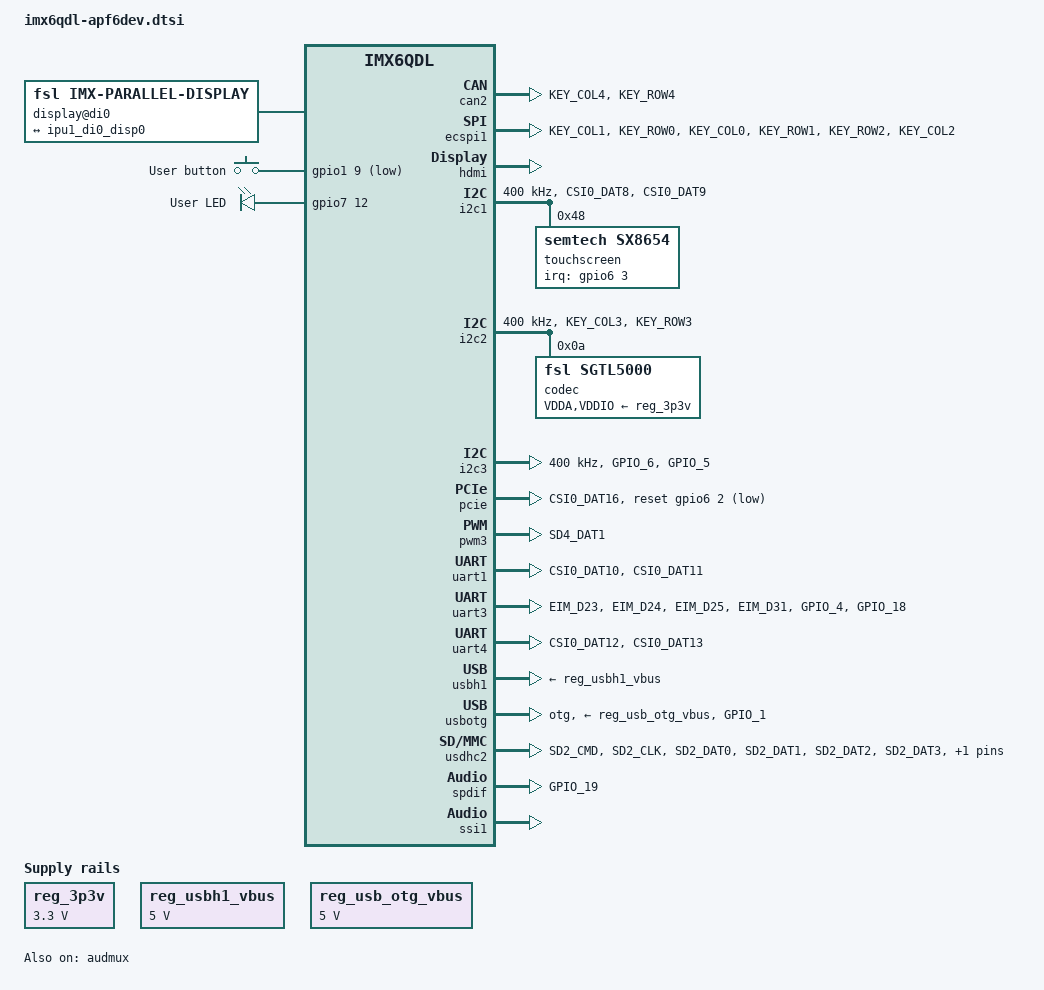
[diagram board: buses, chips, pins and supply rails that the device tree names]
/*
 * Copyright 2015 Armadeus Systems
 *
 * This file is dual-licensed: you can use it either under the terms
 * of the GPL or the X11 license, at your option. Note that this dual
 * licensing only applies to this file, and not this project as a
 * whole.
 *
 *  a) This file is free software; you can redistribute it and/or
 *     modify it under the terms of the GNU General Public License as
 *     published by the Free Software Foundation; either version 2 of
 *     the License, or (at your option) any later version.
 *
 *     This file is distributed in the hope that it will be useful,
 *     but WITHOUT ANY WARRANTY; without even the implied warranty of
 *     MERCHANTABILITY or FITNESS FOR A PARTICULAR PURPOSE.  See the
 *     GNU General Public License for more details.
 *
 *     You should have received a copy of the GNU General Public
 *     License along with this file; if not, write to the Free
 *     Software Foundation, Inc., 51 Franklin St, Fifth Floor, Boston,
 *     MA 02110-1301 USA
 *
 * Or, alternatively,
 *
 *  b) Permission is hereby granted, free of charge, to any person
 *     obtaining a copy of this software and associated documentation
 *     files (the "Software"), to deal in the Software without
 *     restriction, including without limitation the rights to use,
 *     copy, modify, merge, publish, distribute, sublicense, and/or
 *     sell copies of the Software, and to permit persons to whom the
 *     Software is furnished to do so, subject to the following
 *     conditions:
 *
 *     The above copyright notice and this permission notice shall be
 *     included in all copies or substantial portions of the Software.
 *
 *     THE SOFTWARE IS PROVIDED "AS IS", WITHOUT WARRANTY OF ANY KIND,
 *     EXPRESS OR IMPLIED, INCLUDING BUT NOT LIMITED TO THE WARRANTIES
 *     OF MERCHANTABILITY, FITNESS FOR A PARTICULAR PURPOSE AND
 *     NONINFRINGEMENT. IN NO EVENT SHALL THE AUTHORS OR COPYRIGHT
 *     HOLDERS BE LIABLE FOR ANY CLAIM, DAMAGES OR OTHER LIABILITY,
 *     WHETHER IN AN ACTION OF CONTRACT, TORT OR OTHERWISE, ARISING
 *     FROM, OUT OF OR IN CONNECTION WITH THE SOFTWARE OR THE USE OR
 *     OTHER DEALINGS IN THE SOFTWARE.
 */

#include <dt-bindings/gpio/gpio.h>
#include <dt-bindings/input/input.h>
#include <dt-bindings/interrupt-controller/irq.h>

/ {
	chosen {
		stdout-path = &uart4;
	};

	display@di0 {
		compatible = "fsl,imx-parallel-display";
		interface-pix-fmt = "bgr666";
		pinctrl-names = "default";
		pinctrl-0 = <&pinctrl_ipu1_disp1>;

		display-timings {
			lw700 {
				clock-frequency = <33000033>;
				hactive = <800>;
				vactive = <480>;
				hback-porch = <96>;
				hfront-porch = <96>;
				vback-porch = <20>;
				vfront-porch = <21>;
				hsync-len = <64>;
				vsync-len = <4>;
				hsync-active = <1>;
				vsync-active = <1>;
				de-active = <1>;
				pixelclk-active = <1>;
			};
		};

		port {
			display_in: endpoint {
				remote-endpoint = <&ipu1_di0_disp0>;
			};
		};
	};

	gpio-keys {
		compatible = "gpio-keys";
		pinctrl-names = "default";
		pinctrl-0 = <&pinctrl_gpio_keys>;

		user-button {
			label = "User button";
			gpios = <&gpio1 9 GPIO_ACTIVE_LOW>;
			linux,code = <BTN_MISC>;
			wakeup-source;
		};
	};

	leds {
		compatible = "gpio-leds";
		pinctrl-names = "default";
		pinctrl-0 = <&pinctrl_gpio_leds>;

		user-led {
			label = "User LED";
			gpios = <&gpio7 12 GPIO_ACTIVE_HIGH>;
			linux,default-trigger = "heartbeat";
			default-state = "on";
		};
	};

	regulators {
		compatible = "simple-bus";

		reg_3p3v: 3p3v {
			compatible = "regulator-fixed";
			regulator-name = "3P3V";
			regulator-min-microvolt = <3300000>;
			regulator-max-microvolt = <3300000>;
			regulator-always-on;
		};

		reg_usbh1_vbus: usb-h1-vbus {
			compatible = "regulator-fixed";
			regulator-name = "usb_h1_vbus";
			regulator-min-microvolt = <5000000>;
			regulator-max-microvolt = <5000000>;
			regulator-always-on;
		};

		reg_usb_otg_vbus: usb-otg-vbus {
			compatible = "regulator-fixed";
			regulator-name = "usb_otg_vbus";
			regulator-min-microvolt = <5000000>;
			regulator-max-microvolt = <5000000>;
			regulator-always-on;
		};
	};

	sound {
		compatible = "fsl,imx6-armadeus-sgtl5000",
			     "fsl,imx-audio-sgtl5000";
		model = "imx6-armadeus-sgtl5000";
		ssi-controller = <&ssi1>;
		audio-codec = <&codec>;
		audio-routing =
			"MIC_IN", "Mic Jack",
			"Mic Jack", "Mic Bias",
			"Headphone Jack", "HP_OUT";
		mux-int-port = <1>;
		mux-ext-port = <3>;
	};

	sound-spdif {
		compatible = "fsl,imx-audio-spdif";
		model = "imx-spdif";
		spdif-controller = <&spdif>;
		spdif-out;
	};
};

&audmux {
	pinctrl-names = "default";
	pinctrl-0 = <&pinctrl_audmux>;
	status = "okay";
};

&can2 {
	pinctrl-names = "default";
	pinctrl-0 = <&pinctrl_flexcan2>;
	status = "okay";
};

&ecspi1 {
	pinctrl-names = "default";
	pinctrl-0 = <&pinctrl_ecspi1>;
	cs-gpios = <&gpio4 9 GPIO_ACTIVE_LOW>,
		   <&gpio4 10 GPIO_ACTIVE_LOW>,
		   <&gpio4 11 GPIO_ACTIVE_LOW>;
	status = "okay";
};

&hdmi {
	ddc-i2c-bus = <&i2c3>;
	status = "okay";
};

&i2c1 {
	clock-frequency = <400000>;
	pinctrl-names = "default";
	pinctrl-0 = <&pinctrl_i2c1>;
	status = "okay";

	touchscreen@48 {
		compatible = "semtech,sx8654";
		reg = <0x48>;
		pinctrl-names = "default";
		pinctrl-0 = <&pinctrl_touchscreen>;
		interrupt-parent = <&gpio6>;
		interrupts = <3 IRQ_TYPE_EDGE_FALLING>;
	};
};

&i2c2 {
	clock-frequency = <400000>;
	pinctrl-names = "default";
	pinctrl-0 = <&pinctrl_i2c2>;
	status = "okay";

	codec: sgtl5000@0a {
		compatible = "fsl,sgtl5000";
		reg = <0x0a>;
		clocks = <&clks IMX6QDL_CLK_CKO>;
		VDDA-supply = <&reg_3p3v>;
		VDDIO-supply = <&reg_3p3v>;
	};
};

&i2c3 {
	clock-frequency = <400000>;
	pinctrl-names = "default";
	pinctrl-0 = <&pinctrl_i2c3>;
	status = "okay";
};

&ipu1_di0_disp0 {
	remote-endpoint = <&display_in>;
};

&pcie {
	pinctrl-names = "default";
	pinctrl-0 = <&pinctrl_pcie>;
	reset-gpio = <&gpio6 2 GPIO_ACTIVE_LOW>;
	status = "okay";
};

&pwm3 {
	pinctrl-names = "default";
	pinctrl-0 = <&pinctrl_pwm3>;
	status = "okay";
};

/* GPS */
&uart1 {
	pinctrl-names = "default";
	pinctrl-0 = <&pinctrl_uart1>;
	status = "okay";
};

/* GSM */
&uart3 {
	pinctrl-names = "default";
	pinctrl-0 = <&pinctrl_uart3 &pinctrl_gsm>;
	uart-has-rtscts;
	status = "okay";
};

/* console */
&uart4 {
	pinctrl-names = "default";
	pinctrl-0 = <&pinctrl_uart4>;
	status = "okay";
};

&usbh1 {
	vbus-supply = <&reg_usbh1_vbus>;
	phy_type = "utmi";
	status = "okay";
};

&usbotg {
	pinctrl-names = "default";
	pinctrl-0 = <&pinctrl_usbotg>;
	vbus-supply = <&reg_usb_otg_vbus>;
	dr_mode = "otg";
	status = "okay";
};

/* microSD */
&usdhc2 {
	pinctrl-names = "default";
	pinctrl-0 = <&pinctrl_usdhc2>;
	cd-gpios = <&gpio1 2 GPIO_ACTIVE_LOW>;
	no-1-8-v;
	status = "okay";
};

&spdif {
	pinctrl-names = "default";
	pinctrl-0 = <&pinctrl_spdif>;
	status = "okay";
};

&ssi1 {
	status = "okay";
};

&iomuxc {
	pinctrl-names = "default";
	pinctrl-0 = <&pinctrl_gpios>;

	apf6dev {
		pinctrl_audmux: audmuxgrp {
			fsl,pins = <
				MX6QDL_PAD_CSI0_DAT4__AUD3_TXC  0x1b0b0
				MX6QDL_PAD_CSI0_DAT5__AUD3_TXD  0x1b0b0
				MX6QDL_PAD_CSI0_DAT6__AUD3_TXFS 0x1b0b0
				MX6QDL_PAD_CSI0_DAT7__AUD3_RXD  0x1b0b0
				MX6QDL_PAD_GPIO_0__CCM_CLKO1    0x130b0
			>;
		};

		pinctrl_ecspi1: ecspi1grp {
			fsl,pins = <
				MX6QDL_PAD_KEY_COL1__ECSPI1_MISO 0x100b1
				MX6QDL_PAD_KEY_ROW0__ECSPI1_MOSI 0x100b1
				MX6QDL_PAD_KEY_COL0__ECSPI1_SCLK 0x100b1
				MX6QDL_PAD_KEY_ROW1__GPIO4_IO09  0x1b0b0
				MX6QDL_PAD_KEY_ROW2__GPIO4_IO11  0x1b0b0
				MX6QDL_PAD_KEY_COL2__GPIO4_IO10  0x1b0b0
			>;
		};

		pinctrl_flexcan2: flexcan2grp {
			fsl,pins = <
				MX6QDL_PAD_KEY_COL4__FLEXCAN2_TX 0x1b0b0
				MX6QDL_PAD_KEY_ROW4__FLEXCAN2_RX 0x1b0b0
			>;
		};

		pinctrl_gpio_keys: gpiokeysgrp {
			fsl,pins = <
				MX6QDL_PAD_GPIO_9__GPIO1_IO09 0x1b0b0
			>;
		};

		pinctrl_gpio_leds: gpioledsgrp {
			fsl,pins = <
				MX6QDL_PAD_GPIO_17__GPIO7_IO12 0x130b0
			>;
		};

		pinctrl_gpios: gpiosgrp {
			fsl,pins = <
				MX6QDL_PAD_DI0_PIN4__GPIO4_IO20		0x100b1
				MX6QDL_PAD_DISP0_DAT18__GPIO5_IO12	0x100b1
				MX6QDL_PAD_DISP0_DAT19__GPIO5_IO13	0x100b1
				MX6QDL_PAD_DISP0_DAT20__GPIO5_IO14	0x100b1
				MX6QDL_PAD_DISP0_DAT21__GPIO5_IO15	0x100b1
				MX6QDL_PAD_DISP0_DAT22__GPIO5_IO16	0x100b1
				MX6QDL_PAD_DISP0_DAT23__GPIO5_IO17	0x100b1
				MX6QDL_PAD_CSI0_PIXCLK__GPIO5_IO18	0x100b1
				MX6QDL_PAD_CSI0_VSYNC__GPIO5_IO21	0x100b1
			>;
		};

		pinctrl_gsm: gsmgrp {
			fsl,pins = <
				MX6QDL_PAD_GPIO_4__GPIO1_IO04  0x130b0 /* GSM_POKIN */
				MX6QDL_PAD_GPIO_18__GPIO7_IO13 0x130b0 /* GSM_PWR_EN */
			>;
		};

		pinctrl_i2c1: i2c1grp {
			fsl,pins = <
				MX6QDL_PAD_CSI0_DAT8__I2C1_SDA 0x4001b8b1
				MX6QDL_PAD_CSI0_DAT9__I2C1_SCL 0x4001b8b1
			>;
		};

		pinctrl_i2c2: i2c2grp {
			fsl,pins = <
				MX6QDL_PAD_KEY_COL3__I2C2_SCL 0x4001b8b1
				MX6QDL_PAD_KEY_ROW3__I2C2_SDA 0x4001b8b1
			>;
		};

		pinctrl_i2c3: i2c3grp {
			fsl,pins = <
				MX6QDL_PAD_GPIO_6__I2C3_SDA 0x4001b8b1
				MX6QDL_PAD_GPIO_5__I2C3_SCL 0x4001b8b1
			>;
		};

		pinctrl_ipu1_disp1: ipu1disp1grp {
			fsl,pins = <
				MX6QDL_PAD_DI0_DISP_CLK__IPU1_DI0_DISP_CLK	0x100b1
				MX6QDL_PAD_DI0_PIN15__IPU1_DI0_PIN15		0x100b1
				MX6QDL_PAD_DI0_PIN2__IPU1_DI0_PIN02		0x100b1
				MX6QDL_PAD_DI0_PIN3__IPU1_DI0_PIN03		0x100b1
				MX6QDL_PAD_DISP0_DAT0__IPU1_DISP0_DATA00	0x100b1
				MX6QDL_PAD_DISP0_DAT1__IPU1_DISP0_DATA01	0x100b1
				MX6QDL_PAD_DISP0_DAT2__IPU1_DISP0_DATA02	0x100b1
				MX6QDL_PAD_DISP0_DAT3__IPU1_DISP0_DATA03	0x100b1
				MX6QDL_PAD_DISP0_DAT4__IPU1_DISP0_DATA04	0x100b1
				MX6QDL_PAD_DISP0_DAT5__IPU1_DISP0_DATA05	0x100b1
				MX6QDL_PAD_DISP0_DAT6__IPU1_DISP0_DATA06	0x100b1
				MX6QDL_PAD_DISP0_DAT7__IPU1_DISP0_DATA07	0x100b1
				MX6QDL_PAD_DISP0_DAT8__IPU1_DISP0_DATA08	0x100b1
				MX6QDL_PAD_DISP0_DAT9__IPU1_DISP0_DATA09	0x100b1
				MX6QDL_PAD_DISP0_DAT10__IPU1_DISP0_DATA10	0x100b1
				MX6QDL_PAD_DISP0_DAT11__IPU1_DISP0_DATA11	0x100b1
				MX6QDL_PAD_DISP0_DAT12__IPU1_DISP0_DATA12	0x100b1
				MX6QDL_PAD_DISP0_DAT13__IPU1_DISP0_DATA13	0x100b1
				MX6QDL_PAD_DISP0_DAT14__IPU1_DISP0_DATA14	0x100b1
				MX6QDL_PAD_DISP0_DAT15__IPU1_DISP0_DATA15	0x100b1
				MX6QDL_PAD_DISP0_DAT16__IPU1_DISP0_DATA16	0x100b1
				MX6QDL_PAD_DISP0_DAT17__IPU1_DISP0_DATA17	0x100b1
			>;
		};

		pinctrl_pcie: pciegrp {
			fsl,pins = <
				MX6QDL_PAD_CSI0_DAT16__GPIO6_IO02 0x130b0
			>;
		};

		pinctrl_pwm3: pwm3grp {
			fsl,pins = <
				MX6QDL_PAD_SD4_DAT1__PWM3_OUT 0x1b0b1
			>;
		};

		pinctrl_uart1: uart1grp {
			fsl,pins = <
				MX6QDL_PAD_CSI0_DAT10__UART1_TX_DATA 0x1b0b0
				MX6QDL_PAD_CSI0_DAT11__UART1_RX_DATA 0x1b0b0
			>;
		};

		pinctrl_uart3: uart3grp {
			fsl,pins = <
				MX6QDL_PAD_EIM_D23__UART3_CTS_B   0x1b0b0
				MX6QDL_PAD_EIM_D24__UART3_TX_DATA 0x1b0b0
				MX6QDL_PAD_EIM_D25__UART3_RX_DATA 0x1b0b0
				MX6QDL_PAD_EIM_D31__UART3_RTS_B   0x1b0b0
			>;
		};

		pinctrl_uart4: uart4grp {
			fsl,pins = <
				MX6QDL_PAD_CSI0_DAT12__UART4_TX_DATA 0x1b0b0
				MX6QDL_PAD_CSI0_DAT13__UART4_RX_DATA 0x1b0b0
			>;
		};

		pinctrl_usbotg: usbotggrp {
			fsl,pins = <
				MX6QDL_PAD_GPIO_1__USB_OTG_ID 0x1b0b0
			>;
		};

		pinctrl_usdhc2: usdhc2grp {
			fsl,pins = <
				MX6QDL_PAD_SD2_CMD__SD2_CMD    0x17059
				MX6QDL_PAD_SD2_CLK__SD2_CLK    0x10059
				MX6QDL_PAD_SD2_DAT0__SD2_DATA0 0x17059
				MX6QDL_PAD_SD2_DAT1__SD2_DATA1 0x17059
				MX6QDL_PAD_SD2_DAT2__SD2_DATA2 0x17059
				MX6QDL_PAD_SD2_DAT3__SD2_DATA3 0x17059
			>;
		};

		pinctrl_spdif: spdifgrp {
			fsl,pins = <
				MX6QDL_PAD_GPIO_19__SPDIF_OUT 0x1b0b0
			>;
		};

		pinctrl_touchscreen: touchscreengrp {
			fsl,pins = <
				MX6QDL_PAD_CSI0_DAT17__GPIO6_IO03 0x1b0b0
			>;
		};
	};
};
